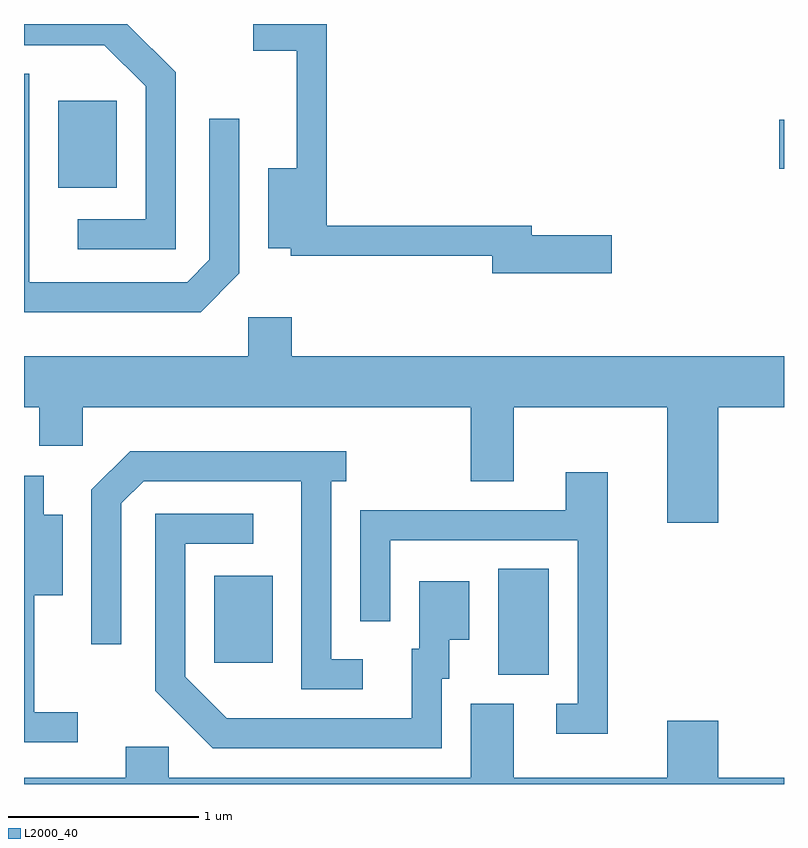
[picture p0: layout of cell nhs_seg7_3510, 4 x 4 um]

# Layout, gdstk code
import gdstk
lib = gdstk.Library(unit=1e-6, precision=1e-09)
def R(c, l, rs):  # rectangles x0, y0, x1, y1
    for r in rs: c.add(gdstk.rectangle(r[:2], r[2:], *l))
def P(c, l, *ps):  # polygons
    for p in ps: c.add(gdstk.Polygon(p, *l))
L2000_40 = (2000, 40)

nhs_seg7_3510 = lib.new_cell('nhs_seg7_3510')
R(nhs_seg7_3510, L2000_40, [(294.106,1792.826,294.374,1793.384), (292.611,1792.891,292.919,1793.349), (291.791,1795.391,292.099,1795.849), (295.586,1795.491,295.611,1795.749)])
P(nhs_seg7_3510, L2000_40, [(292.409,1795.997),(292.154,1796.252),(291.611,1796.252),(291.611,1796.141),(292.034,1796.141),(292.251,1795.924),(292.251,1795.224),(291.893,1795.224),(291.893,1795.066),(292.409,1795.066)],
  [(294.704,1795.139),(294.284,1795.139),(294.284,1795.189),(293.204,1795.189),(293.204,1796.252),(292.818,1796.252),(292.818,1796.111),(293.046,1796.111),(293.046,1795.494),(292.896,1795.494),(292.896,1795.071),(293.016,1795.071),(293.016,1795.031),(294.076,1795.031),(294.076,1794.941),(294.704,1794.941)],
  [(292.744,1794.939),(292.744,1795.753),(292.586,1795.753),(292.586,1795.012),(292.469,1794.894),(291.639,1794.894),(291.639,1795.989),(291.611,1795.989),(291.611,1794.736),(292.542,1794.736)],
  [(295.264,1794.236),(295.611,1794.236),(295.611,1794.504),(293.019,1794.504),(293.019,1794.709),(292.791,1794.709),(292.791,1794.504),(291.611,1794.504),(291.611,1794.236),(291.691,1794.236),(291.691,1794.031),(291.919,1794.031),(291.919,1794.236),(293.961,1794.236),(293.961,1793.846),(294.189,1793.846),(294.189,1794.236),(294.996,1794.236),(294.996,1793.626),(295.264,1793.626)],
  [(293.393,1792.909),(293.229,1792.909),(293.229,1793.846),(293.308,1793.846),(293.308,1794.004),(292.169,1794.004),(291.966,1793.802),(291.966,1792.988),(292.124,1792.988),(292.124,1793.729),(292.242,1793.846),(293.071,1793.846),(293.071,1792.751),(293.393,1792.751)],
  [(294.684,1793.894),(294.461,1793.894),(294.461,1793.694),(293.381,1793.694),(293.381,1793.108),(293.539,1793.108),(293.539,1793.536),(294.526,1793.536),(294.526,1792.674),(294.413,1792.674),(294.413,1792.516),(294.684,1792.516)],
  [(291.893,1792.629),(291.664,1792.629),(291.664,1793.246),(291.814,1793.246),(291.814,1793.669),(291.714,1793.669),(291.714,1793.874),(291.611,1793.874),(291.611,1792.471),(291.893,1792.471)],
  [(293.809,1792.806),(293.849,1792.806),(293.849,1793.011),(293.954,1793.011),(293.954,1793.319),(293.691,1793.319),(293.691,1792.964),(293.651,1792.964),(293.651,1792.599),(292.677,1792.599),(292.459,1792.817),(292.459,1793.516),(292.818,1793.516),(292.818,1793.674),(292.301,1793.674),(292.301,1792.744),(292.604,1792.441),(293.809,1792.441)],
  [(294.189,1792.674),(293.961,1792.674),(293.961,1792.284),(292.374,1792.284),(292.374,1792.449),(292.146,1792.449),(292.146,1792.284),(291.611,1792.284),(291.611,1792.252),(295.611,1792.252),(295.611,1792.284),(295.264,1792.284),(295.264,1792.584),(294.996,1792.584),(294.996,1792.284),(294.189,1792.284)])

lib.write_gds('nhs_seg7_3510.gds')
